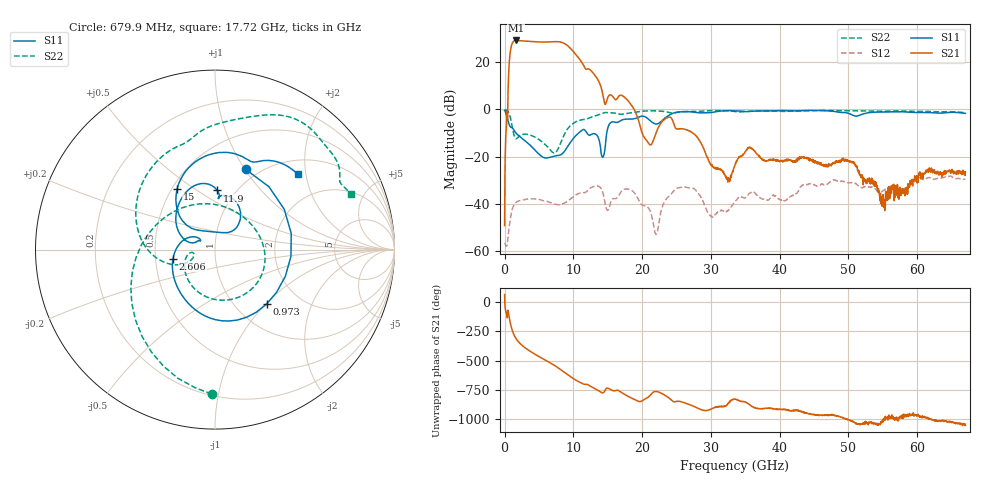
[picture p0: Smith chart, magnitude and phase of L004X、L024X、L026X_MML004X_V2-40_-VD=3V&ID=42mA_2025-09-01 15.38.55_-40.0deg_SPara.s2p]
!Keysight Technologies,N5247B,MY63057157,A.17.10.07
!Date: Monday, September 01, 2025 15:45:53
!Correction: S11(C  2-Port  )
!S21(C  2-Port  )
!S12(C  2-Port  )
!S22(C  2-Port  )
!S2P File: Measurements: S11, S21, S12, S22:
# Hz S  dB  R 50
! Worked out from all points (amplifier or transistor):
!   1601 points, 10 MHz to 67 GHz, reference 50 ohm
!   highest |S21| = 29.2 dB at 1.685 GHz (marker M1)
!   |S21| within 3 dB of that: 943.7 MHz to 9.473 GHz (8.529 GHz wide, 164 % of centre)
!   unconditionally stable (mu >= 1): start of sweep to end of sweep
!   at 11.15 GHz: K = 1.80, MAG = 22.6 dB, |S12| = -35.3 dB
!   at 33.51 GHz: K = 16.97, MAG = -7.7 dB, |S12| = -38.8 dB
!   at 67 GHz: K = 24.73, MAG = -15.4 dB, |S12| = -29.4 dB
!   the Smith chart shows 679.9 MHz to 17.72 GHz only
!   S11 on the Smith chart (normalised r, x): 679.9 MHz: 0.87, +1.01; 973 MHz: 1.37, -1.01; 2.606 GHz: 0.62, -0.07; 11.9 GHz: 0.82, +0.61; 15 GHz: 0.53, +0.43; 17.72 GHz: 1.31, +1.80
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1e7  -0.47 -26.7  -49.14 64.3  -56.44 69.0  -0.13 -12.0
6.799e8  -6.40 69.1  19.54 -131.5  -49.48 -136.1  -1.89 -91.4
9.729812e8  -7.58 -46.6  26.59 148.4  -43.88 160.3  -5.17 -147.2
1.307931e9  -8.54 -98.3  28.80 88.7  -40.80 116.0  -10.11 137.4
1.68475e9  -10.05 -125.6  29.17 46.6  -39.30 84.2  -12.41 58.7
2.605862e9  -12.42 -167.9  28.99 -13.1  -38.39 46.9  -10.58 -29.0
3.568844e9  -14.72 163.4  28.79 -54.9  -37.91 26.2  -10.73 -73.7
4.573694e9  -17.66 147.3  28.61 -91.1  -37.95 8.3  -11.97 -113.0
5.746019e9  -20.40 146.8  28.50 -130.0  -38.66 -5.3  -14.42 -153.5
7.04395e9  -19.93 150.7  28.63 -173.7  -39.81 -13.0  -18.26 -171.2
7.923194e9  -19.41 153.0  28.60 152.3  -40.37 -9.1  -15.81 -155.1
8.886175e9  -17.01 164.2  27.58 110.8  -39.33 -3.8  -9.54 -172.6
9.974762e9  -12.40 150.8  24.59 66.6  -37.06 -6.9  -5.94 150.3
1.118896e10  -8.94 117.2  20.13 27.1  -35.31 -23.2  -4.40 116.8
1.190072e10  -9.63 87.8  16.94 17.1  -34.84 -28.2  -4.09 103.7
1.499901e10  -8.01 122.1  4.93 -15.4  -42.71 -77.4  -1.36 49.2
1.772048e10  -4.11 42.3  4.38 -78.4  -33.64 -91.5  -1.74 22.2
2.236791e10  -5.94 -0.9  -7.59 -48.7  -49.54 20.8  -0.67 -20.8
3.3505e10  -0.64 -84.4  -23.57 -111.4  -38.84 -125.6  -0.91 -79.0
4.468396e10  -0.43 -130.5  -21.34 120.4  -31.55 164.3  -0.53 -115.7
5.586291e10  -1.08 -157.9  -32.64 114.4  -32.95 113.8  -0.72 -150.5
6.7e10  -1.68 172.6  -26.40 25.9  -29.40 48.5  -1.25 174.5
